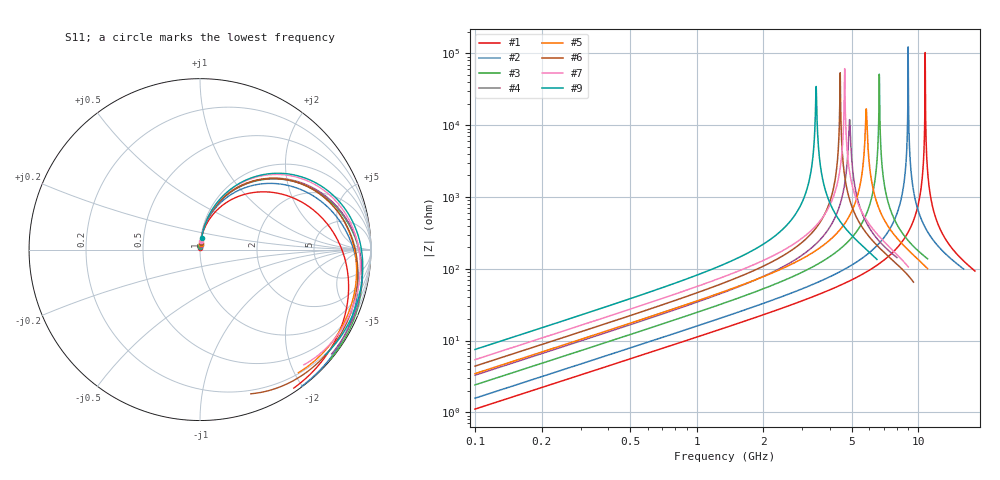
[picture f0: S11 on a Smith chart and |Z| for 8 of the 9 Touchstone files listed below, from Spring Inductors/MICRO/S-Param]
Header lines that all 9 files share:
! 16 May 2003
# MHZ S MA R 50
!Freq  MagS11  AngS11  MagS21  AngS21  MagS12  AngS12  MagS22  AngS22
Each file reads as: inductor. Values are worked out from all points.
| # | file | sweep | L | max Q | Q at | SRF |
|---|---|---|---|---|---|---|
| 1 | MICRO_2T.S2P | 100 MHz to 18 GHz | 1.76 nH | 570 | 5.43 GHz | 10.73 GHz |
| 2 | MICRO_3T.S2P | 100 MHz to 16 GHz | 2.5 nH | 503 | 4.72 GHz | 8.99 GHz |
| 3 | MICRO_4T.S2P | 100 MHz to 11 GHz | 3.83 nH | 334 | 3.12 GHz | 6.66 GHz |
| 4 | MICRO_5T.S2P | 100 MHz to 8 GHz | 5.23 nH | 194 | 1.84 GHz | 4.89 GHz |
| 5 | MICRO_6T.S2P | 100 MHz to 11 GHz | 5.5 nH | 239 | 2.12 GHz | 5.81 GHz |
| 6 | MICRO_7T.S2P | 100 MHz to 9.5 GHz | 6.99 nH | 221 | 2.15 GHz | 4.43 GHz |
| 7 | MICRO_8T.S2P | 100 MHz to 9 GHz | 8.6 nH | 224 | 2.19 GHz | 4.64 GHz |
| 8 | MICRO_9T.S2P | 100 MHz to 7.5 GHz | 9.46 nH | 195 | 1.79 GHz | 3.92 GHz |
| 9 | MICRO_10T.S2P | 100 MHz to 6.5 GHz | 11.9 nH | 167 | 1.53 GHz | 3.45 GHz |
